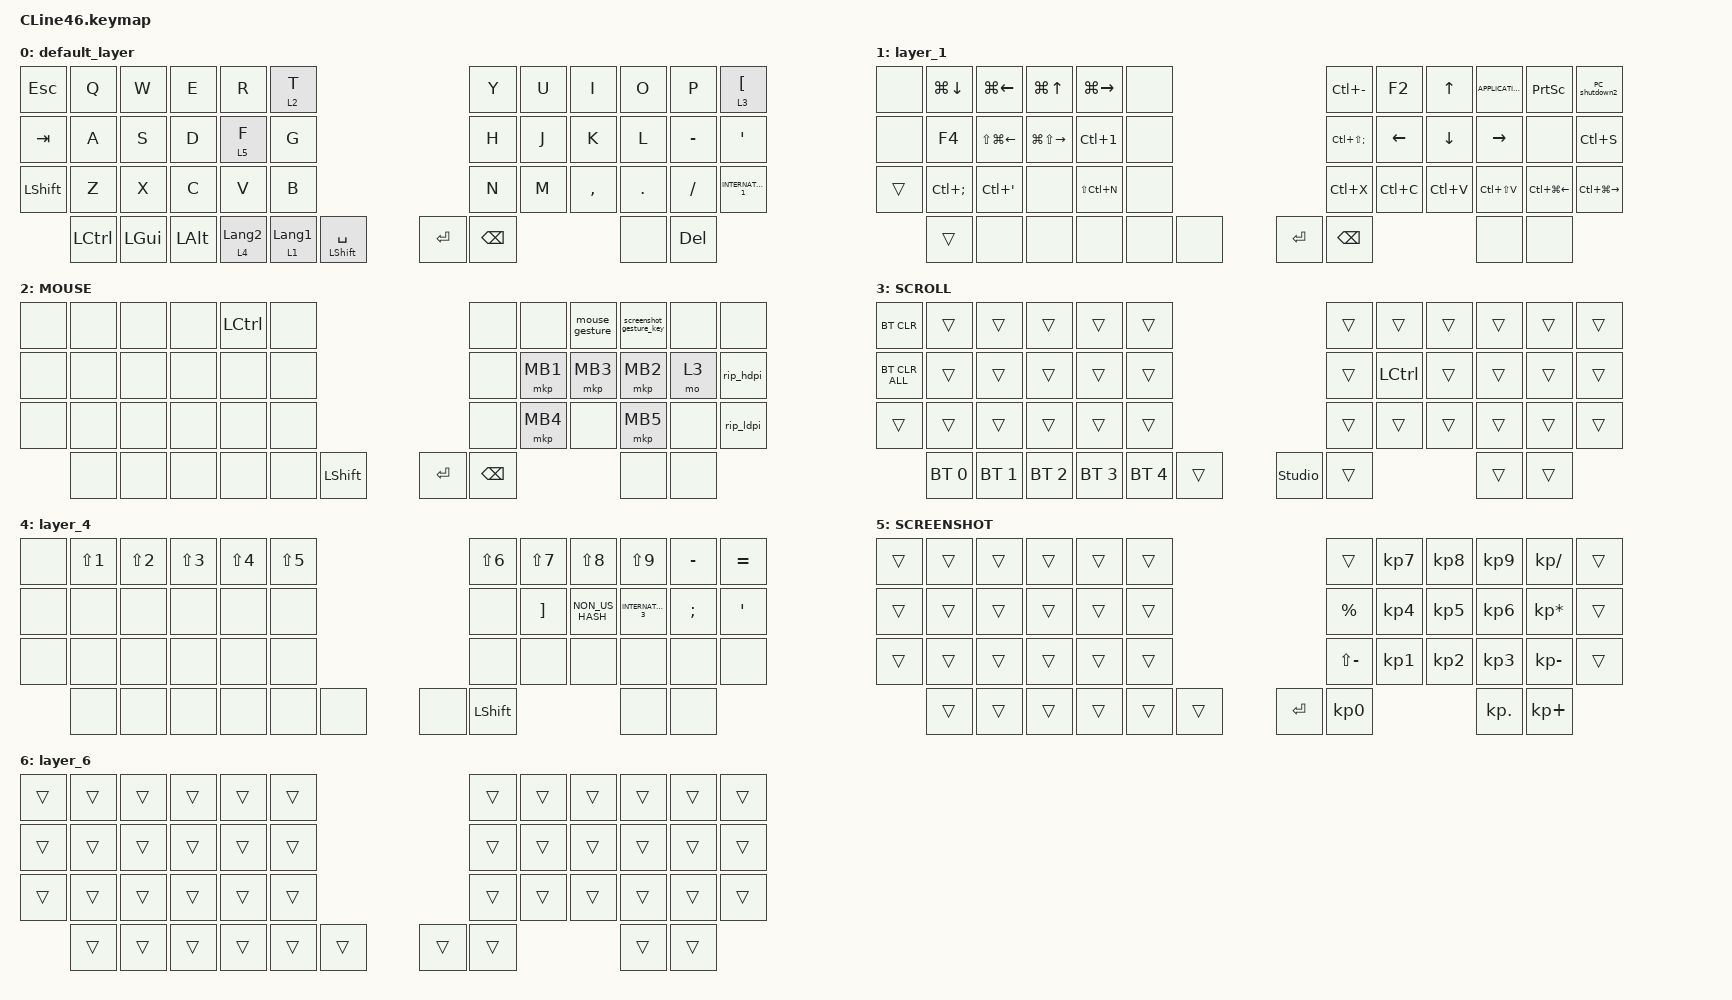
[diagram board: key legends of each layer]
#include <input/processors.dtsi>
#include <dt-bindings/zmk/input_transform.h>
#include <zephyr/dt-bindings/input/input-event-codes.h>
#include <behaviors/runtime-input-processor.dtsi>
#include <mouse-gesture.dtsi>
#include <behaviors.dtsi>
#include <dt-bindings/zmk/bt.h>
#include <dt-bindings/zmk/keys.h>
#include <dt-bindings/zmk/pointing.h>

&rip_hdpi {
    scale-multiplier = <2>;
    scale-divisor = <1>;
};

&rip_ldpi {
    scale-multiplier = <1>;
    scale-divisor = <3>;
};

&zip_mouse_gesture {
    stroke-size = <200>;
    enable-eager-mode;
    suppress-movement;

    gesture_copy {
        pattern = <GESTURE_UP>;
        bindings = <&kp LC(C)>;
    };

    gesture_paste {
        pattern = <GESTURE_DOWN>;
        bindings = <&kp LC(V)>;
    };

    gesture_cut {
        pattern = <GESTURE_LEFT>;
        bindings = <&kp LC(X)>;
    };

    gesture_shift_paste {
        pattern = <GESTURE_RIGHT>;
        bindings = <&kp LC(LS(V))>;
    };
};

/ {
    zip_screenshot_gesture: zip_screenshot_gesture {
        compatible = "zmk,input-processor-mouse-gesture";
        #input-processor-cells = <0>;
        stroke-size = <200>;
        enable-eager-mode;
        suppress-movement;

        gesture_screenshot {
            pattern = <GESTURE_UP>;
            bindings = <&kp PSCRN>;
        };

        gesture_next_tab {
            pattern = <GESTURE_RIGHT>;
            bindings = <&kp LC(TAB)>;
        };

        gesture_previous_tab {
            pattern = <GESTURE_LEFT>;
            bindings = <&kp LC(LS(TAB))>;
        };

        gesture_task_view {
            pattern = <GESTURE_DOWN>;
            bindings = <&kp LG(TAB)>;
        };

        gesture_desktop_previous {
            pattern = <GESTURE_DOWN GESTURE_LEFT>;
            bindings = <&kp LC(LG(LEFT))>;
        };

        gesture_desktop_next {
            pattern = <GESTURE_DOWN GESTURE_RIGHT>;
            bindings = <&kp LC(LG(RIGHT))>;
        };
    };
};

&mt {
    flavor = "balanced";
    quick-tap-ms = <0>;
};

/ {
    combos {
        compatible = "zmk,combos";

        combo_f7_l0 {
            bindings = <&kp F7>;
            key-positions = <7 8>;
            layers = <0 5>;
        };

        combo_f8_l0 {
            bindings = <&kp F8>;
            key-positions = <8 9>;
            layers = <0 5>;
        };

        coron {
            bindings = <&kp APOS>;
            key-positions = <20 19>;
            layers = <5>;
        };

        FandP {
            bindings = <&FandP>;
            key-positions = <10 2>;
            layers = <0>;
        };

        tabmove1 {
            bindings = <&kp LC(TAB)>;
            key-positions = <15 16>;
            layers = <0>;
        };

        tabmove2 {
            bindings = <&kp LC(LS(TAB))>;
            key-positions = <15 14>;
            layers = <0>;
        };

        CtlA {
            bindings = <&kp LC(A)>;
            key-positions = <16 40>;
            layers = <0>;
        };

        WinE {
            bindings = <&kp LG(E)>;
            key-positions = <3 40>;
            layers = <0>;
        };

        CtlZ {
            bindings = <&kp LC(Z)>;
            key-positions = <15 40>;
            layers = <0>;
        };

        Home {
            bindings = <&kp HOME>;
            key-positions = <8 9>;
            layers = <1>;
        };

        End {
            bindings = <&kp END>;
            key-positions = <20 21>;
            layers = <1>;
        };

        mouse_toggle {
            bindings = <&tog 2>;
            key-positions = <7 10>;
            layers = <0 2>;
        };

        Alt {
            bindings = <&kp LEFT_ALT>;
            key-positions = <20 43>;
            layers = <0>;
            slow-release;
        };

        F5_ {
            bindings = <&kp F5>;
            key-positions = <20 19>;
            layers = <2>;
        };

        CtlT {
            bindings = <&kp LC(T)>;
            key-positions = <5 41>;
            layers = <0>;
        };

        CtlB {
            bindings = <&kp LC(B)>;
            key-positions = <29 41>;
            layers = <0>;
        };

        CtlF5 {
            bindings = <&kp LC(F5)>;
            key-positions = <7 42>;
            layers = <0>;
        };

        ShiftF5 {
            bindings = <&kp LS(F5)>;
            key-positions = <6 42>;
            layers = <0>;
        };

        ShiftBackspaceDelete {
            bindings = <&kp DELETE>;
            key-positions = <41 43>;
            layers = <0>;
        };
    };

    macros {
        FandP: FandP {
            compatible = "zmk,behavior-macro";
            #binding-cells = <0>;
            bindings = <&kp LANGUAGE_2 &kp LS(F) &kp A &kp N &kp D &kp LS(P) &kp N5 &kp NUMBER_2 &kp N9>;
            label = "FANDP";
        };

        PC_shutdown: PC_shutdown {
            compatible = "zmk,behavior-macro";
            #binding-cells = <0>;
            tap-ms = <30>;
            wait-ms = <30>;
            bindings =
                <&kp LG(X)>,
                <&macro_wait_time 500>,
                <&kp U>,
                <&macro_wait_time 300>,
                <&kp H>;
        };

        screenshot_gesture_key: screenshot_gesture_key {
            compatible = "zmk,behavior-macro";
            #binding-cells = <0>;
            wait-ms = <0>;
            tap-ms = <0>;
            bindings =
                <&macro_press>,
                <&mouse_gesture &mo 5>,
                <&macro_pause_for_release>,
                <&macro_release>,
                <&mo 5 &mouse_gesture>;

            label = "SCREENSHOT_GESTURE";
        };
    };

    behaviors {
        PC_shutdown2: PC_shutdown2 {
            compatible = "zmk,behavior-tap-dance";
            label = "PC_SHUTDOWN2";
            #binding-cells = <0>;
            tapping-term-ms = <300>;
            bindings = <&none>, <&PC_shutdown>;
        };
    };

    keymap {
        compatible = "zmk,keymap";

        default_layer {
            bindings = <
&kp ESCAPE  &kp Q             &kp W     &kp E     &kp R             &lt 2 T                                            &kp Y          &kp U  &kp I      &kp O    &kp P      &lt 3 LEFT_BRACKET
&kp TAB     &kp A             &kp S     &kp D     &lt 5 F           &kp G                                              &kp H          &kp J  &kp K      &kp L    &kp MINUS  &kp SINGLE_QUOTE
&kp LSHIFT  &kp Z             &kp X     &kp C     &kp V             &kp B                                              &kp N          &kp M  &kp COMMA  &kp DOT  &kp SLASH  &kp INTERNATIONAL_1
            &kp LEFT_CONTROL  &kp LGUI  &kp LALT  &lt 4 LANGUAGE_2  &lt 1 LANGUAGE_1  &mt LEFT_SHIFT SPACE    &kp RET  &kp BACKSPACE                    &none    &kp DEL
            >;
        };

        layer_1 {
            bindings = <
&none   &kp LG(DOWN)       &kp LG(LEFT)      &kp LG(UP)         &kp LG(RIGHT)     &none                    &kp LC(MINUS)          &kp F2     &kp UP     &kp K_APPLICATION  &kp PRINTSCREEN   &PC_shutdown2
&none   &kp F4             &kp LS(LG(LEFT))  &kp LG(LS(RIGHT))  &kp LC(NUMBER_1)  &none                    &kp LC(LS(SEMICOLON))  &kp LEFT   &kp DOWN   &kp RIGHT          &none             &kp LC(S)
&trans  &kp LC(SEMICOLON)  &kp LC(APOS)      &none              &kp LS(LC(N))     &none                    &kp LC(X)              &kp LC(C)  &kp LC(V)  &kp LC(LS(V))      &kp LC(LG(LEFT))  &kp LC(LG(RIGHT))
        &trans             &none             &none              &none             &none  &none    &kp RET  &kp BSPC                                     &none              &none
            >;
        };

        MOUSE {
            bindings = <
&none  &none  &none  &none  &kp LEFT_CONTROL  &none                             &none     &none     &mouse_gesture  &screenshot_gesture_key  &none  &none
&none  &none  &none  &none  &none             &none                             &none     &mkp MB1  &mkp MB3        &mkp MB2                 &mo 3  &rip_hdpi
&none  &none  &none  &none  &none             &none                             &none     &mkp MB4  &none           &mkp MB5                 &none  &rip_ldpi
       &none  &none  &none  &none             &none  &kp LEFT_SHIFT    &kp RET  &kp BSPC                            &none                    &none
            >;
        };

        SCROLL {
            bindings = <
&bt BT_CLR      &trans        &trans        &trans        &trans        &trans                                  &trans  &trans            &trans  &trans  &trans  &trans
&bt BT_CLR_ALL  &trans        &trans        &trans        &trans        &trans                                  &trans  &kp LEFT_CONTROL  &trans  &trans  &trans  &trans
&trans          &trans        &trans        &trans        &trans        &trans                                  &trans  &trans            &trans  &trans  &trans  &trans
                &bt BT_SEL 0  &bt BT_SEL 1  &bt BT_SEL 2  &bt BT_SEL 3  &bt BT_SEL 4  &trans    &studio_unlock  &trans                            &trans  &trans
            >;
        };

        layer_4 {
            bindings = <
&none  &kp LS(NUMBER_1)  &kp LS(NUMBER_2)  &kp LS(NUMBER_3)  &kp LS(NUMBER_4)  &kp LS(N5)                  &kp LS(NUMBER_6)  &kp LS(N7)         &kp LS(N8)       &kp LS(N9)           &kp MINUS      &kp EQUAL
&none  &none             &none             &none             &none             &none                       &none             &kp RIGHT_BRACKET  &kp NON_US_HASH  &kp INTERNATIONAL_3  &kp SEMICOLON  &kp APOS
&none  &none             &none             &none             &none             &none                       &none             &none              &none            &none                &none          &none
       &none             &none             &none             &none             &none       &none    &none  &kp LEFT_SHIFT                                        &none                &none
            >;
        };

        SCREENSHOT {
            bindings = <
&trans  &trans  &trans  &trans  &trans  &trans                       &trans           &kp KP_NUMBER_7  &kp KP_NUMBER_8  &kp KP_NUMBER_9  &kp KP_SLASH     &trans
&trans  &trans  &trans  &trans  &trans  &trans                       &kp PERCENT      &kp KP_NUMBER_4  &kp KP_NUMBER_5  &kp KP_NUMBER_6  &kp KP_MULTIPLY  &trans
&trans  &trans  &trans  &trans  &trans  &trans                       &kp LS(MINUS)    &kp KP_NUMBER_1  &kp KP_NUMBER_2  &kp KP_NUMBER_3  &kp KP_MINUS     &trans
        &trans  &trans  &trans  &trans  &trans  &trans    &kp ENTER  &kp KP_NUMBER_0                                    &kp KP_DOT       &kp KP_PLUS
            >;
        };

        layer_6 {
            bindings = <
&trans  &trans  &trans  &trans  &trans  &trans                    &trans  &trans  &trans  &trans  &trans  &trans
&trans  &trans  &trans  &trans  &trans  &trans                    &trans  &trans  &trans  &trans  &trans  &trans
&trans  &trans  &trans  &trans  &trans  &trans                    &trans  &trans  &trans  &trans  &trans  &trans
        &trans  &trans  &trans  &trans  &trans  &trans    &trans  &trans                  &trans  &trans
            >;
        };
    };
};
